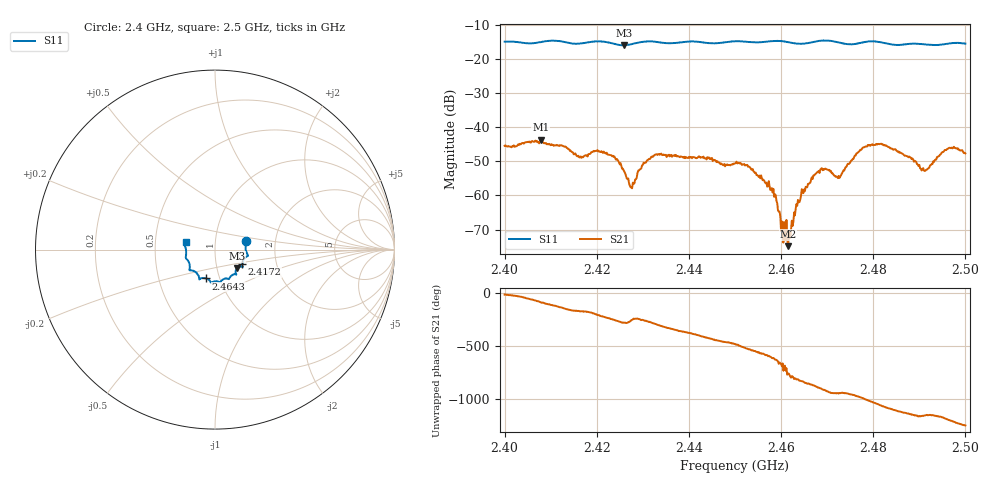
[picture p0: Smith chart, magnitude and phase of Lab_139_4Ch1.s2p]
# Hz S RI R 50
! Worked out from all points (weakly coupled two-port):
!   601 points, 2.4 GHz to 2.5 GHz, reference 50 ohm
!   highest |S21| = -43.60 dB at 2.4078 GHz (marker M1); lowest = -74.9 dB at 2.4615 GHz (marker M2)
!   lowest |S11| = -15.9 dB at 2.4258 GHz (marker M3), VSWR 1.38, Z = 62.3 - j13.2 ohm
!   |S11| at or under -10 dB: start of sweep to end of sweep
!   S12 and S22 are empty: the file has one direction only
!   S11 on the Smith chart (normalised r, x): 2.4 GHz: 1.41, +0.14; 2.4172 GHz: 1.34, -0.22; 2.4643 GHz: 0.86, -0.28; 2.5 GHz: 0.72, +0.06
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2.4e9  0.1734 0.0494  0.00506 -0.00173  0 0  0 0
2.407833e9  0.1764 -0.0195  -0.000113 -0.00661  0 0  0 0
2.416667e9  0.1531 -0.0747  -0.00356 -0.000292  0 0  0 0
2.417167e9  0.1522 -0.0803  -0.00375 3.32e-06  0 0  0 0
2.421667e9  0.1528 -0.0953  -0.00272 0.0033  0 0  0 0
2.425833e9  0.1217 -0.1036  0.000546 0.00227  0 0  0 0
2.427667e9  0.115 -0.1205  -0.000288 0.00124  0 0  0 0
2.430333e9  0.1182 -0.137  -0.000346 0.00295  0 0  0 0
2.433333e9  0.1129 -0.1368  0.0023 0.0033  0 0  0 0
2.45e9  0.0293 -0.1806  -0.00163 -0.00247  0 0  0 0
2.457833e9  -0.0177 -0.1826  -0.000492 0.00112  0 0  0 0
2.4605e9  -0.0247 -0.1809  0.000197 -5.02e-05  0 0  0 0
2.4615e9  -0.0276 -0.1755  0.000139 -0.000114  0 0  0 0
2.464333e9  -0.05 -0.1606  -0.000363 -0.000921  0 0  0 0
2.466667e9  -0.0761 -0.1596  -0.00151 -0.00106  0 0  0 0
2.469167e9  -0.0876 -0.1662  -0.00237 0.000579  0 0  0 0
2.472667e9  -0.0894 -0.1503  -0.00132 0.00124  0 0  0 0
2.478333e9  -0.1371 -0.1155  0.00128 0.00506  0 0  0 0
2.483333e9  -0.1407 -0.09  0.00507 -0.00068  0 0  0 0
2.491e9  -0.162 -0.0343  0.000555 -0.00226  0 0  0 0
2.496167e9  -0.1673 0.0203  -0.0019 -0.00445  0 0  0 0
2.5e9  -0.1638 0.0416  -0.00406 -0.000807  0 0  0 0
